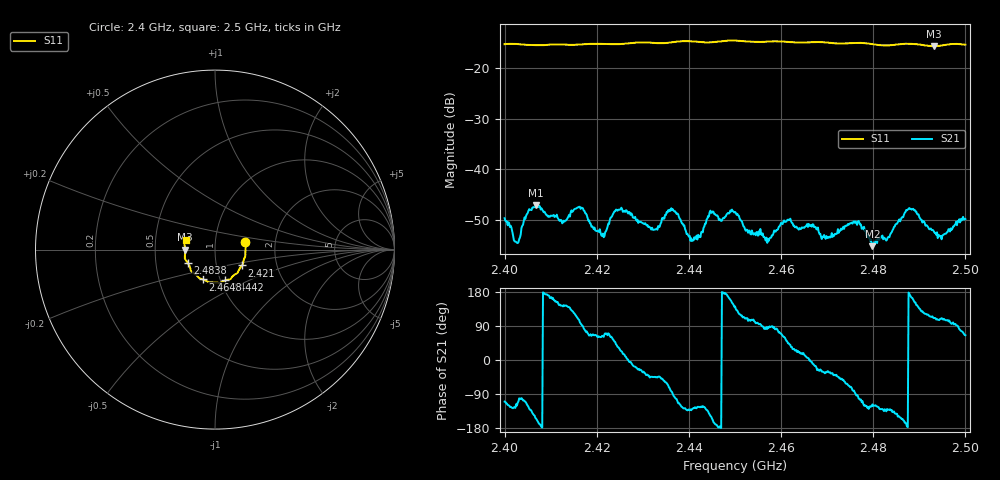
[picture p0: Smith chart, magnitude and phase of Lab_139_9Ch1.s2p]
# Hz S RI R
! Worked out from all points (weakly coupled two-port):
!   601 points, 2.4 GHz to 2.5 GHz, reference 50 ohm
!   highest |S21| = -47.10 dB at 2.4068 GHz (marker M1); lowest = -55.3 dB at 2.4798 GHz (marker M2)
!   lowest |S11| = -15.6 dB at 2.4932 GHz (marker M3), VSWR 1.40, Z = 35.8 - j0.0804 ohm
!   |S11| at or under -10 dB: start of sweep to end of sweep
!   S12 and S22 are empty: the file has one direction only
!   S11 on the Smith chart (normalised r, x): 2.4 GHz: 1.40, +0.12; 2.421 GHz: 1.33, -0.24; 2.4442 GHz: 1.05, -0.37; 2.4648 GHz: 0.83, -0.28; 2.4838 GHz: 0.73, -0.11; 2.5 GHz: 0.72, +0.08
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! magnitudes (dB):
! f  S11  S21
! 2.4 GHz  -15.2  -49.7
! 2.4027 GHz  -15.2  -54.6
! 2.4068 GHz  -15.4  -47.1
! 2.4125 GHz  -15.3  -50.8
! 2.4167 GHz  -15.3  -47.6
! 2.421 GHz  -15.2  -53.2
! 2.4248 GHz  -15.2  -48.1
! 2.4333 GHz  -15.0  -51.3
! 2.4367 GHz  -14.8  -48.2
! 2.4408 GHz  -14.7  -54.0
! 2.4442 GHz  -14.9  -49.3
! 2.45 GHz  -14.5  -48.5
! 2.457 GHz  -14.7  -54.6
! 2.4648 GHz  -14.9  -51.6
! 2.4667 GHz  -14.8  -51.4
! 2.4763 GHz  -15.0  -50.6
! 2.4798 GHz  -15.2  -55.3
! 2.4833 GHz  -15.5  -53.5
! 2.4838 GHz  -15.4  -52.7
! 2.4882 GHz  -15.2  -47.9
! 2.4932 GHz  -15.6  -52.4
! 2.5 GHz  -15.3  -49.9
